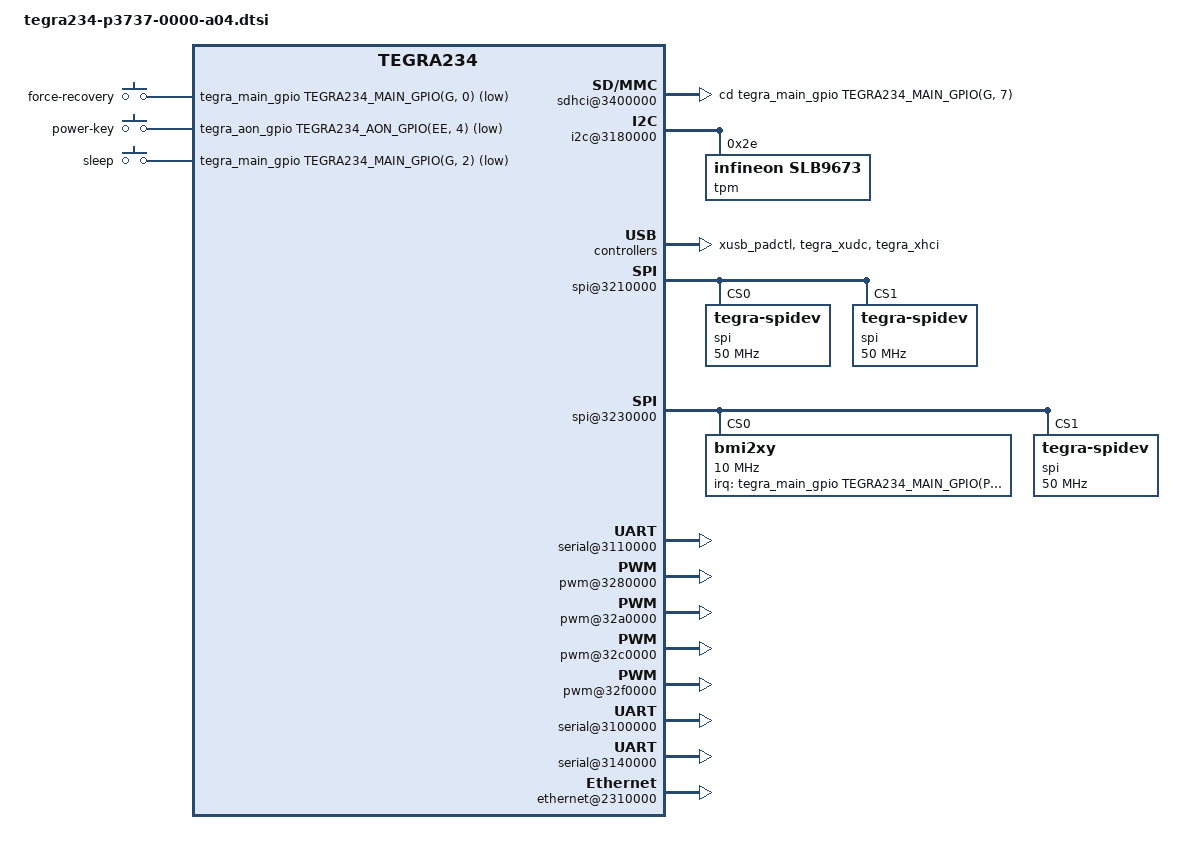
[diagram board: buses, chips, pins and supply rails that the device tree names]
/*
 * Copyright (c) 2021-2022, NVIDIA CORPORATION.  All rights reserved.
 *
 * This program is free software; you can redistribute it and/or modify
 * it under the terms of the GNU General Public License as published by
 * the Free Software Foundation; version 2 of the License.
 *
 * This program is distributed in the hope that it will be useful, but WITHOUT
 * ANY WARRANTY; without even the implied warranty of MERCHANTABILITY or
 * FITNESS FOR A PARTICULAR PURPOSE.  See the GNU General Public License for
 * more details.
 */
#include <dt-bindings/gpio/tegra234-gpio.h>
#include "dt-bindings/input/input.h"
#include "tegra234-pwm-fan.dtsi"
#include "tegra234-p3737-audio.dtsi"
#include "tegra234-p3737-fixed-regulator.dtsi"
//#include "tegra234-ethernet-3737-0000.dtsi"
#include "tegra234-p3737-pcie.dtsi"
#include "tegra234-p3737-super-module-e2614.dtsi"

/ {
	pinmux@2430000 {
                pinctrl-0 = <0x4e8>;
		pinctrl-names = "default";
                
                exp-header-pinmux {
			phandle = <0x4e8>;

			hdr40-pin26 {
				nvidia,enable-input = <0x1>;
				nvidia,tristate = <0x0>;
				nvidia,function = "spi1";
				nvidia,pins = "spi1_cs1_pz7";
			};

			hdr40-pin24 {
				nvidia,enable-input = <0x1>;
				nvidia,tristate = <0x0>;
				nvidia,function = "spi1";
				nvidia,pins = "spi1_cs0_pz6";
			};

			hdr40-pin23 {
				nvidia,enable-input = <0x1>;
				nvidia,tristate = <0x0>;
				nvidia,function = "spi1";
				nvidia,pins = "spi1_sck_pz3";
			};

			hdr40-pin21 {
				nvidia,enable-input = <0x1>;
				nvidia,tristate = <0x0>;
				nvidia,function = "spi1";
				nvidia,pins = "spi1_miso_pz4";
			};

			hdr40-pin19 {
				nvidia,enable-input = <0x1>;
				nvidia,tristate = <0x0>;
				nvidia,function = "spi1";
				nvidia,pins = "spi1_mosi_pz5";
			};
		
                };
                spi1_sck_pz3 {
                        nvidia,enable-input = <0x1>;
				nvidia,tristate = <0x0>;
				nvidia,function = "spi1";
				nvidia,pins = "spi1_sck_pz3";
                };
                spi1_miso_pz4 {
                        nvidia,enable-input = <0x1>;
				nvidia,tristate = <0x0>;
				nvidia,function = "spi1";
				nvidia,pins = "spi1_miso_pz4";
                };

                spi1_mosi_pz5 {
                        nvidia,enable-input = <0x1>;
				nvidia,tristate = <0x0>;
				nvidia,function = "spi1";
				nvidia,pins = "spi1_mosi_pz5";
                };

                spi1_cs0_pz6 {
                		nvidia,enable-input = <0x1>;
				nvidia,tristate = <0x0>;
				nvidia,function = "spi1";
				nvidia,pins = "spi1_cs0_pz6";
                };

                	spi1_cs1_pz7 {
                               nvidia,enable-input = <0x1>;
				nvidia,tristate = <0x0>;
				nvidia,function = "spi1";
				nvidia,pins = "spi1_cs1_pz7";

                      };
                      
                      	spi2_sck_pcc0 {
				nvidia,pins = "spi2_sck_pcc0";
				nvidia,function = "spi2";
				nvidia,pull = <TEGRA_PIN_PULL_NONE>;
				nvidia,tristate = <TEGRA_PIN_DISABLE>;
				nvidia,enable-input = <TEGRA_PIN_DISABLE>;
				nvidia,io-high-voltage = <TEGRA_PIN_DISABLE>;
				nvidia,lpdr = <TEGRA_PIN_DISABLE>;
			};

			spi2_miso_pcc1 {
				nvidia,pins = "spi2_miso_pcc1";
				nvidia,function = "spi2";
				nvidia,pull = <TEGRA_PIN_PULL_UP>;
				nvidia,tristate = <TEGRA_PIN_DISABLE>;
				nvidia,enable-input = <TEGRA_PIN_ENABLE>;
				nvidia,io-high-voltage = <TEGRA_PIN_DISABLE>;
				nvidia,lpdr = <TEGRA_PIN_DISABLE>;
			};

			spi2_mosi_pcc2 {
				nvidia,pins = "spi2_mosi_pcc2";
				nvidia,function = "spi2";
				nvidia,pull = <TEGRA_PIN_PULL_NONE>;
				nvidia,tristate = <TEGRA_PIN_DISABLE>;
				nvidia,enable-input = <TEGRA_PIN_ENABLE>;
				nvidia,io-high-voltage = <TEGRA_PIN_DISABLE>;
				nvidia,lpdr = <TEGRA_PIN_DISABLE>;
			};

			spi2_cs0_pcc3 {
				nvidia,pins = "spi2_cs0_pcc3";
				nvidia,function = "spi2";
				nvidia,pull = <TEGRA_PIN_PULL_UP>;
				nvidia,tristate = <TEGRA_PIN_DISABLE>;
				nvidia,enable-input = <TEGRA_PIN_ENABLE>;
				nvidia,io-high-voltage = <TEGRA_PIN_DISABLE>;
				nvidia,lpdr = <TEGRA_PIN_DISABLE>;
			};
                      
                      spi3_sck_py0 {
				nvidia,pins = "spi3_sck_py0";
				nvidia,function = "spi3";
				nvidia,pull = <TEGRA_PIN_PULL_NONE>;
				nvidia,tristate = <TEGRA_PIN_DISABLE>;
				nvidia,enable-input = <TEGRA_PIN_DISABLE>;
				nvidia,io-high-voltage = <TEGRA_PIN_DISABLE>;
				nvidia,lpdr = <TEGRA_PIN_DISABLE>;
			};

			spi3_miso_py1 {
				nvidia,pins = "spi3_miso_py1";
				nvidia,function = "spi3";
				nvidia,pull = <TEGRA_PIN_PULL_UP>;
				nvidia,tristate = <TEGRA_PIN_DISABLE>;
				nvidia,enable-input = <TEGRA_PIN_ENABLE>;
				nvidia,io-high-voltage = <TEGRA_PIN_DISABLE>;
				nvidia,lpdr = <TEGRA_PIN_DISABLE>;
			};

			spi3_mosi_py2 {
				nvidia,pins = "spi3_mosi_py2";
				nvidia,function = "spi3";
				nvidia,pull = <TEGRA_PIN_PULL_NONE>;
				nvidia,tristate = <TEGRA_PIN_DISABLE>;
				nvidia,enable-input = <TEGRA_PIN_ENABLE>;
				nvidia,io-high-voltage = <TEGRA_PIN_DISABLE>;
				nvidia,lpdr = <TEGRA_PIN_DISABLE>;
			};

			spi3_cs0_py3 {
				nvidia,pins = "spi3_cs0_py3";
				nvidia,function = "spi3";
				nvidia,pull = <TEGRA_PIN_PULL_NONE>;
				nvidia,tristate = <TEGRA_PIN_DISABLE>;
				nvidia,enable-input = <TEGRA_PIN_ENABLE>;
				nvidia,io-high-voltage = <TEGRA_PIN_DISABLE>;
				nvidia,lpdr = <TEGRA_PIN_DISABLE>;
			};
			
			spi3_cs1_py4 {
				nvidia,pins = "spi3_cs1_py4";
				nvidia,function = "spi3";
				nvidia,pull = <TEGRA_PIN_PULL_NONE>;
				nvidia,tristate = <TEGRA_PIN_DISABLE>;
				nvidia,enable-input = <TEGRA_PIN_ENABLE>;
				nvidia,io-high-voltage = <TEGRA_PIN_DISABLE>;
				nvidia,lpdr = <TEGRA_PIN_DISABLE>;
			};
			
			uart1_tx_pr2 {
				nvidia,pins = "uart1_tx_pr2";
				nvidia,function = "uarta";
				nvidia,pull = <TEGRA_PIN_PULL_NONE>;
				nvidia,tristate = <TEGRA_PIN_DISABLE>;
				nvidia,enable-input = <TEGRA_PIN_DISABLE>;
				nvidia,lpdr = <TEGRA_PIN_DISABLE>;
			};

			uart1_rx_pr3 {
				nvidia,pins = "uart1_rx_pr3";
				nvidia,function = "uarta";
				nvidia,pull = <TEGRA_PIN_PULL_UP>;
				nvidia,tristate = <TEGRA_PIN_ENABLE>;
				nvidia,enable-input = <TEGRA_PIN_ENABLE>;
				nvidia,lpdr = <TEGRA_PIN_DISABLE>;
			};

			uart1_rts_pr4 {
				nvidia,pins = "uart1_rts_pr4";
				nvidia,function = "uarta";
				nvidia,pull = <TEGRA_PIN_PULL_NONE>;
				nvidia,tristate = <TEGRA_PIN_DISABLE>;
				nvidia,enable-input = <TEGRA_PIN_DISABLE>;
				nvidia,lpdr = <TEGRA_PIN_DISABLE>;
			};

			uart1_cts_pr5 {
				nvidia,pins = "uart1_cts_pr5";
				nvidia,function = "uarta";
				nvidia,pull = <TEGRA_PIN_PULL_UP>;
				nvidia,tristate = <TEGRA_PIN_ENABLE>;
				nvidia,enable-input = <TEGRA_PIN_ENABLE>;
				nvidia,lpdr = <TEGRA_PIN_DISABLE>;
			};
			
                      	uart5_tx_py5 {
				nvidia,pins = "uart5_tx_py5";
				nvidia,function = "uarte";
				nvidia,pull = <TEGRA_PIN_PULL_NONE>;
				nvidia,tristate = <TEGRA_PIN_DISABLE>;
				nvidia,enable-input = <TEGRA_PIN_DISABLE>;
				nvidia,lpdr = <TEGRA_PIN_DISABLE>;
			};

			uart5_rx_py6 {
				nvidia,pins = "uart5_rx_py6";
				nvidia,function = "uarte";
				nvidia,pull = <TEGRA_PIN_PULL_NONE>;
				nvidia,tristate = <TEGRA_PIN_ENABLE>;
				nvidia,enable-input = <TEGRA_PIN_ENABLE>;
				nvidia,lpdr = <TEGRA_PIN_DISABLE>;
			};

			uart5_rts_py7 {
				nvidia,pins = "uart5_rts_py7";
				nvidia,function = "uarte";
				nvidia,pull = <TEGRA_PIN_PULL_UP>;
				nvidia,tristate = <TEGRA_PIN_DISABLE>;
				nvidia,enable-input = <TEGRA_PIN_DISABLE>;
				nvidia,lpdr = <TEGRA_PIN_DISABLE>;
			};

			uart5_cts_pz0 {
				nvidia,pins = "uart5_cts_pz0";
				nvidia,function = "uarte";
				nvidia,pull = <TEGRA_PIN_PULL_NONE>;
				nvidia,tristate = <TEGRA_PIN_ENABLE>;
				nvidia,enable-input = <TEGRA_PIN_ENABLE>;
				nvidia,lpdr = <TEGRA_PIN_DISABLE>;
			};
			
			spi5_mosi_pac2 {
				nvidia,pins = "spi5_mosi_pac2";
				nvidia,function = "rsvd3";
				nvidia,pull = <TEGRA_PIN_PULL_NONE>;
				nvidia,tristate = <TEGRA_PIN_DISABLE>;
				nvidia,enable-input = <TEGRA_PIN_DISABLE>;
				nvidia,lpdr = <TEGRA_PIN_DISABLE>;
			};
			
			soc_gpio23_pp4 {
				nvidia,pins = "soc_gpio23_pp4";
				nvidia,function = "vi0";
				nvidia,pull = <TEGRA_PIN_PULL_NONE>;
				nvidia,tristate = <TEGRA_PIN_ENABLE>;
				nvidia,enable-input = <TEGRA_PIN_DISABLE>;
				nvidia,io-high-voltage = <TEGRA_PIN_DISABLE>;
				nvidia,lpdr = <TEGRA_PIN_DISABLE>;
			};
			
			soc_gpio39_pn1 {
				nvidia,pins = "soc_gpio39_pn1";
				nvidia,function = "rsvd1";
				nvidia,pull = <TEGRA_PIN_PULL_NONE>;
				nvidia,tristate = <TEGRA_PIN_ENABLE>;
				nvidia,enable-input = <TEGRA_PIN_DISABLE>;
				nvidia,lpdr = <TEGRA_PIN_DISABLE>;
			};
			
			soc_gpio25_pp6 {
				nvidia,pins = "soc_gpio25_pp6";
				nvidia,function = "vi0";
				nvidia,pull = <TEGRA_PIN_PULL_NONE>;
				nvidia,tristate = <TEGRA_PIN_ENABLE>;
				nvidia,enable-input = <TEGRA_PIN_DISABLE>;
				nvidia,io-high-voltage = <TEGRA_PIN_DISABLE>;
				nvidia,lpdr = <TEGRA_PIN_DISABLE>;
			};
			
			can0_dout_paa0 {
				nvidia,pins = "can0_dout_paa0";
				nvidia,function = "can0";
				nvidia,pull = <TEGRA_PIN_PULL_NONE>;
				nvidia,tristate = <TEGRA_PIN_DISABLE>;
				nvidia,enable-input = <TEGRA_PIN_DISABLE>;
			};

			can0_din_paa1 {
				nvidia,pins = "can0_din_paa1";
				nvidia,function = "can0";
				nvidia,pull = <TEGRA_PIN_PULL_DOWN>;
				nvidia,tristate = <TEGRA_PIN_ENABLE>;
				nvidia,enable-input = <TEGRA_PIN_ENABLE>;
			};

			can1_dout_paa2 {
				nvidia,pins = "can1_dout_paa2";
				nvidia,function = "can1";
				nvidia,pull = <TEGRA_PIN_PULL_NONE>;
				nvidia,tristate = <TEGRA_PIN_DISABLE>;
				nvidia,enable-input = <TEGRA_PIN_DISABLE>;
			};

			can1_din_paa3 {
				nvidia,pins = "can1_din_paa3";
				nvidia,function = "can1";
				nvidia,pull = <TEGRA_PIN_PULL_DOWN>;
				nvidia,tristate = <TEGRA_PIN_ENABLE>;
				nvidia,enable-input = <TEGRA_PIN_ENABLE>;
			};
			gen2_i2c_scl_pcc7 {
				nvidia,pins = "gen2_i2c_scl_pcc7";
				nvidia,function = "i2c2";
				nvidia,pull = <TEGRA_PIN_PULL_NONE>;
				nvidia,tristate = <TEGRA_PIN_DISABLE>;
				nvidia,enable-input = <TEGRA_PIN_ENABLE>;
				nvidia,io-high-voltage = <TEGRA_PIN_ENABLE>;
				nvidia,lpdr = <TEGRA_PIN_DISABLE>;
			};

			gen2_i2c_sda_pdd0 {
				nvidia,pins = "gen2_i2c_sda_pdd0";
				nvidia,function = "i2c2";
				nvidia,pull = <TEGRA_PIN_PULL_NONE>;
				nvidia,tristate = <TEGRA_PIN_DISABLE>;
				nvidia,enable-input = <TEGRA_PIN_ENABLE>;
				nvidia,io-high-voltage = <TEGRA_PIN_ENABLE>;
				nvidia,lpdr = <TEGRA_PIN_DISABLE>;
			};

			gen8_i2c_scl_pdd1 {
				nvidia,pins = "gen8_i2c_scl_pdd1";
				nvidia,function = "i2c8";
				nvidia,pull = <TEGRA_PIN_PULL_NONE>;
				nvidia,tristate = <TEGRA_PIN_DISABLE>;
				nvidia,enable-input = <TEGRA_PIN_ENABLE>;
				nvidia,io-high-voltage = <TEGRA_PIN_ENABLE>;
				nvidia,lpdr = <TEGRA_PIN_DISABLE>;
			};

			gen8_i2c_sda_pdd2 {
				nvidia,pins = "gen8_i2c_sda_pdd2";
				nvidia,function = "i2c8";
				nvidia,pull = <TEGRA_PIN_PULL_NONE>;
				nvidia,tristate = <TEGRA_PIN_DISABLE>;
				nvidia,enable-input = <TEGRA_PIN_ENABLE>;
				nvidia,io-high-voltage = <TEGRA_PIN_ENABLE>;
				nvidia,lpdr = <TEGRA_PIN_DISABLE>;
			};
			
		        soc_gpio53_pm6 {
				nvidia,pins = "soc_gpio53_pm6";
				nvidia,function = "rsvd1";
				nvidia,pull = <TEGRA_PIN_PULL_NONE>;
				nvidia,tristate = <TEGRA_PIN_DISABLE>;
				nvidia,enable-input = <TEGRA_PIN_DISABLE>;
				nvidia,lpdr = <TEGRA_PIN_DISABLE>;
			};
			
			//DI
			dap6_din_pa2 {
				nvidia,pins = "dap6_din_pa2";
				nvidia,function = "rsvd1";
				nvidia,pull = <TEGRA_PIN_PULL_NONE>;
				nvidia,tristate = <TEGRA_PIN_ENABLE>;
				nvidia,enable-input = <TEGRA_PIN_ENABLE>;
				nvidia,lpdr = <TEGRA_PIN_DISABLE>;
			};
			
			soc_gpio58_pac5 {
				nvidia,pins = "soc_gpio58_pac5";
				nvidia,function = "rsvd0";
				nvidia,pull = <TEGRA_PIN_PULL_NONE>;
				nvidia,tristate = <TEGRA_PIN_ENABLE>;
				nvidia,enable-input = <TEGRA_PIN_ENABLE>;
				nvidia,lpdr = <TEGRA_PIN_DISABLE>;
			};
			
			soc_gpio60_pac7 {
				nvidia,pins = "soc_gpio60_pac7";
				nvidia,function = "rsvd0";
				nvidia,pull = <TEGRA_PIN_PULL_NONE>;
				nvidia,tristate = <TEGRA_PIN_ENABLE>;
				nvidia,enable-input = <TEGRA_PIN_ENABLE>;
				nvidia,lpdr = <TEGRA_PIN_DISABLE>;
			};
			
			spi5_cs0_pac3 {
				nvidia,pins = "spi5_cs0_pac3";
				nvidia,function = "rsvd3";
				nvidia,pull = <TEGRA_PIN_PULL_NONE>;
				nvidia,tristate = <TEGRA_PIN_ENABLE>;
				nvidia,enable-input = <TEGRA_PIN_ENABLE>;
				nvidia,lpdr = <TEGRA_PIN_DISABLE>;
			};
			
			soc_gpio34_pl3 {
				nvidia,pins = "soc_gpio34_pl3";
				nvidia,function = "rsvd1";
				nvidia,pull = <TEGRA_PIN_PULL_NONE>;
				nvidia,tristate = <TEGRA_PIN_DISABLE>;
				nvidia,enable-input = <TEGRA_PIN_DISABLE>;
				nvidia,io-high-voltage = <TEGRA_PIN_DISABLE>;
				nvidia,lpdr = <TEGRA_PIN_DISABLE>;
			};
			
			soc_gpio40_pn2 {
				nvidia,pins = "soc_gpio40_pn2";
				nvidia,function = "rsvd1";
				nvidia,pull = <TEGRA_PIN_PULL_NONE>;
				nvidia,tristate = <TEGRA_PIN_ENABLE>;
				nvidia,enable-input = <TEGRA_PIN_ENABLE>;
				nvidia,lpdr = <TEGRA_PIN_DISABLE>;
			};
			
			usb_vbus_en1_pz2 {
				nvidia,pins = "usb_vbus_en1_pz2";
				nvidia,function = "rsvd1";
				nvidia,pull = <TEGRA_PIN_PULL_NONE>;
				nvidia,tristate = <TEGRA_PIN_ENABLE>;
				nvidia,enable-input = <TEGRA_PIN_ENABLE>;
				nvidia,io-high-voltage = <TEGRA_PIN_DISABLE>;
				nvidia,lpdr = <TEGRA_PIN_DISABLE>;
			};
			
			dp_aux_ch3_hpd_pm3 {
				nvidia,pins = "dp_aux_ch3_hpd_pm3";
				nvidia,function = "rsvd1";
				nvidia,pull = <TEGRA_PIN_PULL_NONE>;
				nvidia,tristate = <TEGRA_PIN_ENABLE>;
				nvidia,enable-input = <TEGRA_PIN_ENABLE>;
				nvidia,io-high-voltage = <TEGRA_PIN_DISABLE>;
				nvidia,lpdr = <TEGRA_PIN_DISABLE>;
			};
			
		        //DO
			
			soc_gpio36_pm5 {
				nvidia,pins = "soc_gpio36_pm5";
				nvidia,function = "rsvd1";
				nvidia,pull = <TEGRA_PIN_PULL_NONE>;
				nvidia,tristate = <TEGRA_PIN_DISABLE>;
				nvidia,enable-input = <TEGRA_PIN_DISABLE>;
				nvidia,lpdr = <TEGRA_PIN_DISABLE>;
			};
			
			soc_gpio22_ph1 {
				nvidia,pins = "soc_gpio22_ph1";
				nvidia,function = "rsvd0";
				nvidia,pull = <TEGRA_PIN_PULL_NONE>;
				nvidia,tristate = <TEGRA_PIN_DISABLE>;
				nvidia,enable-input = <TEGRA_PIN_DISABLE>;
				nvidia,lpdr = <TEGRA_PIN_DISABLE>;
			};
			
			soc_gpio31_pq4 {
				nvidia,pins = "soc_gpio31_pq4";
				nvidia,function = "rsvd0";
				nvidia,pull = <TEGRA_PIN_PULL_NONE>;
				nvidia,tristate = <TEGRA_PIN_DISABLE>;
				nvidia,enable-input = <TEGRA_PIN_DISABLE>;
				nvidia,io-high-voltage = <TEGRA_PIN_DISABLE>;
				nvidia,lpdr = <TEGRA_PIN_DISABLE>;
			};
			
			soc_gpio28_pq1 {
				nvidia,pins = "soc_gpio28_pq1";
				nvidia,function = "rsvd1";
				nvidia,pull = <TEGRA_PIN_PULL_NONE>;
				nvidia,tristate = <TEGRA_PIN_DISABLE>;
				nvidia,enable-input = <TEGRA_PIN_DISABLE>;
				nvidia,io-high-voltage = <TEGRA_PIN_DISABLE>;
				nvidia,lpdr = <TEGRA_PIN_DISABLE>;
			};
			
			soc_gpio41_ph7 {
				nvidia,pins = "soc_gpio41_ph7";
				nvidia,function = "rsvd2";
				nvidia,pull = <TEGRA_PIN_PULL_NONE>;
				nvidia,tristate = <TEGRA_PIN_DISABLE>;
				nvidia,enable-input = <TEGRA_PIN_DISABLE>;
				nvidia,lpdr = <TEGRA_PIN_DISABLE>;
			};
			
			soc_gpio42_pi0 {
				nvidia,pins = "soc_gpio42_pi0";
				nvidia,function = "rsvd2";
				nvidia,pull = <TEGRA_PIN_PULL_NONE>;
				nvidia,tristate = <TEGRA_PIN_DISABLE>;
				nvidia,enable-input = <TEGRA_PIN_DISABLE>;
				nvidia,lpdr = <TEGRA_PIN_DISABLE>;
			};
			
			soc_gpio43_pi1 {
				nvidia,pins = "soc_gpio43_pi1";
				nvidia,function = "rsvd2";
				nvidia,pull = <TEGRA_PIN_PULL_NONE>;
				nvidia,tristate = <TEGRA_PIN_DISABLE>;
				nvidia,enable-input = <TEGRA_PIN_DISABLE>;
				nvidia,lpdr = <TEGRA_PIN_DISABLE>;
			};
			
			soc_gpio44_pi2 {
				nvidia,pins = "soc_gpio44_pi2";
				nvidia,function = "rsvd2";
				nvidia,pull = <TEGRA_PIN_PULL_NONE>;
				nvidia,tristate = <TEGRA_PIN_DISABLE>;
				nvidia,enable-input = <TEGRA_PIN_DISABLE>;
				nvidia,lpdr = <TEGRA_PIN_DISABLE>;
			};
			
			
			//DO_CTRL
			soc_gpio45_pad0 {
				nvidia,pins = "soc_gpio45_pad0";
				nvidia,function = "rsvd0";
				nvidia,pull = <TEGRA_PIN_PULL_NONE>;
				nvidia,tristate = <TEGRA_PIN_DISABLE>;
				nvidia,enable-input = <TEGRA_PIN_DISABLE>;
				nvidia,lpdr = <TEGRA_PIN_DISABLE>;
			};

			soc_gpio46_pad1 {
				nvidia,pins = "soc_gpio46_pad1";
				nvidia,function = "rsvd0";
				nvidia,pull = <TEGRA_PIN_PULL_NONE>;
				nvidia,tristate = <TEGRA_PIN_DISABLE>;
				nvidia,enable-input = <TEGRA_PIN_DISABLE>;
				nvidia,lpdr = <TEGRA_PIN_DISABLE>;
			};
			
			//led0 323
			can0_err_paa7 {
				nvidia,pins = "can0_err_paa7";
				nvidia,function = "rsvd0";
				nvidia,pull = <TEGRA_PIN_PULL_DOWN>;
				nvidia,tristate = <TEGRA_PIN_DISABLE>;
				nvidia,enable-input = <TEGRA_PIN_DISABLE>;
			};
			
			//led1 324
			can1_stb_pbb0 {
				nvidia,pins = "can1_stb_pbb0";
				nvidia,function = "rsvd0";
				nvidia,pull = <TEGRA_PIN_PULL_DOWN>;
				nvidia,tristate = <TEGRA_PIN_DISABLE>;
				nvidia,enable-input = <TEGRA_PIN_DISABLE>;
			};
			
			uart2_tx_px4 {
				nvidia,pins = "uart2_tx_px4";
				nvidia,function = "uartb";
				nvidia,pull = <TEGRA_PIN_PULL_NONE>;
				nvidia,tristate = <TEGRA_PIN_DISABLE>;
				nvidia,enable-input = <TEGRA_PIN_DISABLE>;
				nvidia,io-high-voltage = <TEGRA_PIN_DISABLE>;
				nvidia,lpdr = <TEGRA_PIN_DISABLE>;
			};

			uart2_rx_px5 {
				nvidia,pins = "uart2_rx_px5";
				nvidia,function = "uartb";
				nvidia,pull = <TEGRA_PIN_PULL_UP>;
				nvidia,tristate = <TEGRA_PIN_ENABLE>;
				nvidia,enable-input = <TEGRA_PIN_ENABLE>;
				nvidia,lpdr = <TEGRA_PIN_DISABLE>;
				nvidia,io-high-voltage = <TEGRA_PIN_DISABLE>;
				
			};
			/*
			pex_l7_rst_n_pag1 {                        //C7 
				nvidia,pins = "pex_l7_rst_n_pag1";
				nvidia,function = "pe7";
				nvidia,pull = <TEGRA_PIN_PULL_NONE>;
				nvidia,tristate = <TEGRA_PIN_DISABLE>;
				nvidia,enable-input = <TEGRA_PIN_DISABLE>;
				nvidia,io-high-voltage = <TEGRA_PIN_ENABLE>;
				nvidia,lpdr = <TEGRA_PIN_DISABLE>;
			};*/
			pex_l7_clkreq_n_pag0 {
				nvidia,pins = "pex_l7_clkreq_n_pag0";
				nvidia,function = "pe7";
				nvidia,pull = <TEGRA_PIN_PULL_NONE>;
				nvidia,tristate = <TEGRA_PIN_DISABLE>;
				nvidia,enable-input = <TEGRA_PIN_ENABLE>;
				nvidia,io-high-voltage = <TEGRA_PIN_ENABLE>;
				nvidia,lpdr = <TEGRA_PIN_DISABLE>;
			};
			
			pex_l0_clkreq_n_pk0 {
				nvidia,pins = "pex_l0_clkreq_n_pk0";  //C0
				nvidia,function = "pe0";
				nvidia,pull = <TEGRA_PIN_PULL_NONE>;
				nvidia,tristate = <TEGRA_PIN_DISABLE>;
				nvidia,enable-input = <TEGRA_PIN_ENABLE>;
				nvidia,io-high-voltage = <TEGRA_PIN_ENABLE>;
				nvidia,lpdr = <TEGRA_PIN_DISABLE>;
			};
			pex_l0_rst_n_pk1 {
				nvidia,pins = "pex_l0_rst_n_pk1";
				nvidia,function = "pe0";
				nvidia,pull = <TEGRA_PIN_PULL_NONE>;
				nvidia,tristate = <TEGRA_PIN_DISABLE>;
				nvidia,enable-input = <TEGRA_PIN_DISABLE>;
				nvidia,io-high-voltage = <TEGRA_PIN_ENABLE>;
				nvidia,lpdr = <TEGRA_PIN_DISABLE>;
			};
			
			cam_i2c_scl_pp2 {
				nvidia,pins = "cam_i2c_scl_pp2";
				nvidia,function = "i2c3";
				nvidia,pull = <TEGRA_PIN_PULL_NONE>;
				nvidia,tristate = <TEGRA_PIN_DISABLE>;
				nvidia,enable-input = <TEGRA_PIN_ENABLE>;
				nvidia,io-high-voltage = <TEGRA_PIN_ENABLE>;
				nvidia,lpdr = <TEGRA_PIN_DISABLE>;
			};

			cam_i2c_sda_pp3 {
				nvidia,pins = "cam_i2c_sda_pp3";
				nvidia,function = "i2c3";
				nvidia,pull = <TEGRA_PIN_PULL_NONE>;
				nvidia,tristate = <TEGRA_PIN_DISABLE>;
				nvidia,enable-input = <TEGRA_PIN_ENABLE>;
				nvidia,io-high-voltage = <TEGRA_PIN_ENABLE>;
				nvidia,lpdr = <TEGRA_PIN_DISABLE>;
			};

			dp_aux_ch0_hpd_pm0 {
				nvidia,pins = "dp_aux_ch0_hpd_pm0";
				nvidia,function = "rsvd1";
				nvidia,pull = <TEGRA_PIN_PULL_NONE>;
				nvidia,tristate = <TEGRA_PIN_ENABLE>;
				nvidia,enable-input = <TEGRA_PIN_ENABLE>;
				nvidia,io-high-voltage = <TEGRA_PIN_DISABLE>;
				nvidia,lpdr = <TEGRA_PIN_DISABLE>;
			};
			
			};
    /*
		       eqos_txc_pe0 {
				nvidia,pins = "eqos_txc_pe0";
				nvidia,function = "eqos";
				nvidia,pull = <TEGRA_PIN_PULL_NONE>;
				nvidia,tristate = <TEGRA_PIN_DISABLE>;
				nvidia,enable-input = <TEGRA_PIN_DISABLE>;
			};

			eqos_td0_pe1 {
				nvidia,pins = "eqos_td0_pe1";
				nvidia,function = "eqos";
				nvidia,pull = <TEGRA_PIN_PULL_NONE>;
				nvidia,tristate = <TEGRA_PIN_DISABLE>;
				nvidia,enable-input = <TEGRA_PIN_DISABLE>;			soc_gpio36_pm5 {
				nvidia,pins = "soc_gpio36_pm5";
				nvidia,function = "rsvd1";
				nvidia,pull = <TEGRA_PIN_PULL_NONE>;
				nvidia,tristate = <TEGRA_PIN_DISABLE>;
				nvidia,enable-input = <TEGRA_PIN_ENABLE>;
				nvidia,lpdr = <TEGRA_PIN_DISABLE>;
			};			soc_gpio36_pm5 {
				nvidia,pins = "soc_gpio36_pm5";
				nvidia,function = "rsvd1";
				nvidia,pull = <TEGRA_PIN_PULL_NONE>;
				nvidia,tristate = <TEGRA_PIN_DISABLE>;
				nvidia,enable-input = <TEGRA_PIN_ENABLE>;
				nvidia,lpdr = <TEGRA_PIN_DISABLE>;
			};			soc_gpio36_pm5 {
				nvidia,pins = "soc_gpio36_pm5";
				nvidia,function = "rsvd1";
				nvidia,pull = <TEGRA_PIN_PULL_NONE>;
				nvidia,tristate = <TEGRA_PIN_DISABLE>;
				nvidia,enable-input = <TEGRA_PIN_ENABLE>;
				nvidia,lpdr = <TEGRA_PIN_DISABLE>;
			};			soc_gpio36_pm5 {
				nvidia,pins = "soc_gpio36_pm5";
				nvidia,function = "rsvd1";
				nvidia,pull = <TEGRA_PIN_PULL_NONE>;
				nvidia,tristate = <TEGRA_PIN_DISABLE>;
				nvidia,enable-input = <TEGRA_PIN_ENABLE>;
				nvidia,lpdr = <TEGRA_PIN_DISABLE>;
			};			soc_gpio36_pm5 {
				nvidia,pins = "soc_gpio36_pm5";
				nvidia,function = "rsvd1";
				nvidia,pull = <TEGRA_PIN_PULL_NONE>;
				nvidia,tristate = <TEGRA_PIN_DISABLE>;
				nvidia,enable-input = <TEGRA_PIN_ENABLE>;
				nvidia,lpdr = <TEGRA_PIN_DISABLE>;
			};
			};

			eqos_td1_pe2 {
				nvidia,pins = "eqos_td1_pe2";
				nvidia,function = "eqos";
				nvidia,pull = <TEGRA_PIN_PULL_NONE>;
				nvidia,tristate = <TEGRA_PIN_DISABLE>;
				nvidia,enable-input = <TEGRA_PIN_DISABLE>;
			};

			eqos_td2_pe3 {
				nvidia,pins = "eqos_td2_pe3";
				nvidia,function = "eqos";
				nvidia,pull = <TEGRA_PIN_PULL_NONE>;
				nvidia,tristate = <TEGRA_PIN_DISABLE>;
				nvidia,enable-input = <TEGRA_PIN_DISABLE>;
			};

			eqos_td3_pe4 {
				nvidia,pins = "eqos_td3_pe4";
				nvidia,function = "eqos";
				nvidia,pull = <TEGRA_PIN_PULL_NONE>;
				nvidia,tristate = <TEGRA_PIN_DISABLE>;
				nvidia,enable-input = <TEGRA_PIN_DISABLE>;
			};

			eqos_tx_ctl_pe5 {
				nvidia,pins = "eqos_tx_ctl_pe5";
				nvidia,function = "eqos";
				nvidia,pull = <TEGRA_PIN_PULL_NONE>;
				nvidia,tristate = <TEGRA_PIN_DISABLE>;
				nvidia,enable-input = <TEGRA_PIN_DISABLE>;
			};

			eqos_rd0_pe6 {
				nvidia,pins = "eqos_rd0_pe6";
				nvidia,function = "eqos";
				nvidia,pull = <TEGRA_PIN_PULL_NONE>;
				nvidia,tristate = <TEGRA_PIN_ENABLE>;
				nvidia,enable-input = <TEGRA_PIN_ENABLE>;
			};

			eqos_rd1_pe7 {
				nvidia,pins = "eqos_rd1_pe7";
				nvidia,function = "eqos";
				nvidia,pull = <TEGRA_PIN_PULL_NONE>;
				nvidia,tristate = <TEGRA_PIN_ENABLE>;
				nvidia,enable-input = <TEGRA_PIN_ENABLE>;
			};
			eqos_rd2_pf0 {
				nvidia,pins = "eqos_rd2_pf0";
				nvidia,function = "eqos";
				nvidia,pull = <TEGRA_PIN_PULL_NONE>;
				nvidia,tristate = <TEGRA_PIN_ENABLE>;
				nvidia,enable-input = <TEGRA_PIN_ENABLE>;
			};

			eqos_rd3_pf1 {
				nvidia,pins = "eqos_rd3_pf1";
				nvidia,function = "eqos";
				nvidia,pull = <TEGRA_PIN_PULL_NONE>;
				nvidia,tristate = <TEGRA_PIN_ENABLE>;
				nvidia,enable-input = <TEGRA_PIN_ENABLE>;
			};

			eqos_rx_ctl_pf2 {
				nvidia,pins = "eqos_rx_ctl_pf2";
				nvidia,function = "eqos";
				nvidia,pull = <TEGRA_PIN_PULL_NONE>;
				nvidia,tristate = <TEGRA_PIN_ENABLE>;
				nvidia,enable-input = <TEGRA_PIN_ENABLE>;
			};

			eqos_rxc_pf3 {
				nvidia,pins = "eqos_rxc_pf3";
				nvidia,function = "eqos";
				nvidia,pull = <TEGRA_PIN_PULL_NONE>;
				nvidia,tristate = <TEGRA_PIN_ENABLE>;
				nvidia,enable-input = <TEGRA_PIN_ENABLE>;
			};

			eqos_sma_mdio_pf4 {
				nvidia,pins = "eqos_sma_mdio_pf4";
				nvidia,function = "eqos";
				nvidia,pull = <TEGRA_PIN_PULL_NONE>;
				nvidia,tristate = <TEGRA_PIN_DISABLE>;
				nvidia,enable-input = <TEGRA_PIN_ENABLE>;
			};

			eqos_sma_mdc_pf5 {
				nvidia,pins = "eqos_sma_mdc_pf5";
				nvidia,function = "eqos";
				nvidia,pull = <TEGRA_PIN_PULL_NONE>;
				nvidia,tristate = <TEGRA_PIN_DISABLE>;
				nvidia,enable-input = <TEGRA_PIN_DISABLE>;
			};
			soc_gpio17_pg4 {
				nvidia,pins = "soc_gpio17_pg4";
				nvidia,function = "rsvd0";
				nvidia,pull = <TEGRA_PIN_PULL_UP>;
				nvidia,tristate = <TEGRA_PIN_ENABLE>;
				nvidia,enable-input = <TEGRA_PIN_ENABLE>;
				nvidia,lpdr = <TEGRA_PIN_DISABLE>;
			};

			soc_gpio18_pg5 {
				nvidia,pins = "soc_gpio18_pg5";
				nvidia,function = "rsvd0";
				nvidia,pull = <TEGRA_PIN_PULL_NONE>;
				nvidia,tristate = <TEGRA_PIN_DISABLE>;
				nvidia,enable-input = <TEGRA_PIN_DISABLE>;
				nvidia,lpdr = <TEGRA_PIN_DISABLE>;
			};
		*/
		
	gpio-keys {
		compatible = "gpio-keys";
		gpio-keys,name = "gpio-keys";
		status = "okay";

		forcerecovery {
			label = "force-recovery";
			gpios = <&tegra_main_gpio TEGRA234_MAIN_GPIO(G, 0) GPIO_ACTIVE_LOW>;
			linux,code = <BTN_1>;
		};

		power_key {
			label = "power-key";
			gpios = <&tegra_aon_gpio TEGRA234_AON_GPIO(EE, 4) GPIO_ACTIVE_LOW>;
			linux,code = <KEY_POWER>;
			gpio-key,wakeup;
		};

		sleep {
			label = "sleep";
			gpios = <&tegra_main_gpio TEGRA234_MAIN_GPIO(G, 2) GPIO_ACTIVE_LOW>;
			linux,code = <KEY_SLEEP>;
		};
	};

	soft_wdt:soft_watchdog {
		compatible = "softdog-platform";
		status = "okay";
	};

	eeprom-manager {
		data-size = <0x100>;
		bus@0 {
			i2c-bus = <&gen1_i2c>;
			eeprom@1 {
				slave-address = <0x56>;
				label = "cvb";
			};
		};

		bus@1 {
			i2c-bus = <&gen2_i2c>;
			eeprom@1 {
				slave-address = <0x50>;
				label = "super-module";
			};
		};

		bus@2 {
			i2c-bus = <&cam_i2c>;
			eeprom@0 {
				slave-address = <0x54>;
				label = "sensor0";
			};
			eeprom@1 {
				slave-address = <0x57>;
				label = "sensor1";
			};
			eeprom@2 {
				slave-address = <0x52>;
				label = "sensor2";
			};
		};

	};

	ufshci@2500000 {
		nvidia,enable-ufs-provisioning;
		status = "disabled";
	};

	sdhci@3400000 {
		disable-wp;
		no-sdio;
		nvidia,cd-wakeup-capable;
		no-mmc;
		nvidia,boot-detect-delay = <1000>;
		cd-gpios = <&tegra_main_gpio TEGRA234_MAIN_GPIO(G, 7) 0>;
		assigned-clocks = <&bpmp TEGRA234_CLK_SDMMC1>,
				  <&bpmp TEGRA234_CLK_PLLC4_MUXED>;
		assigned-clock-parents = <&bpmp TEGRA234_CLK_PLLC4_MUXED>,
					 <&bpmp TEGRA234_CLK_PLLC4_VCO_DIV2>;
		status = "okay";
	};
		
	i2c@3180000 {
	                        tpm@2e{

                                      compatible = "infineon,slb9673", "tcg,tpm-tis-i2c";
				     status = "okay";
                                    reg = <0x2e>;

                                    #address-cells = <2>;

                                    #size-cells = <1>;

                                };     
	};
		
	i2c@c240000 {
	/*
		ucsi_ccg: ucsi_ccg@8 {
			status = "okay";
			compatible = "nvidia,ccgx-ucsi";
			ccgx,firmware-build = "gn";
			reg = <0x08>;
			interrupt-parent = <&tegra_main_gpio>;
			interrupts = <TEGRA234_MAIN_GPIO(Y, 4) IRQ_TYPE_LEVEL_LOW>;
			interrupt-names = "wakeup";
			wakeup-source;
			ccg_typec_con0: connector@0 {
				compatible = "usb-c-connector";
				label = "USB-C";
				data-role = "host";
			};
			ccg_typec_con1: connector@1 {
				compatible = "usb-c-connector";
				label = "USB-C";
				data-role = "dual";
				port {
					ucsi_ccg_p1: endpoint {
						remote-endpoint = <&usb_role_switch0>;
					};
				};
			};
		};
*/
		ncp_12v_pcie_supply: ncp81599@74 {
			compatible = "nvidia,ncp81599";
			reg = <0x74>;
			regulator-name = "ncp81599";
			ncp81599-supply = <&p3737_vdd_5v_sys>;
			status = "disabled";
		};
	};

	xusb_padctl: xusb_padctl@3520000 {
		status = "okay";
		pads {
			usb2 {
				lanes {
					usb2-0 {
						nvidia,function = "xusb";
						status = "okay";
					};
					usb2-1 {
						nvidia,function = "xusb";
						status = "okay";
					};
					usb2-2 {
						nvidia,function = "xusb";
						status = "okay";
					};
					usb2-3 {
						nvidia,function = "xusb";
						status = "okay";
					};
				};
			};
			usb3 {
				lanes {
					usb3-0 {
						nvidia,function = "xusb";
						status = "okay";
					};
					usb3-1 {
						nvidia,function = "xusb";
						status = "okay";
					};
					usb3-2 {
						nvidia,function = "xusb";
						status = "okay";
					};
				};
			};
		};

		ports {
			usb2-0 {
				mode = "peripheral";
				//mode = "otg";
				usb-role-switch;
				status = "okay";
				connector {
 					compatible = "usb-b-connector", "gpio-usb-b-connector";
 					label = "micro-USB";
 					type = "micro";
 					cable-connected-on-boot = <0>;
 				};
			};
			usb2-1 {
				mode = "host";
				status = "okay";
			};
			usb2-2 {
				mode = "host";
				status = "okay";
			};
			usb2-3 {
				mode = "host";
				status = "okay";
			};
			usb3-0 { //Back USB-C
				nvidia,usb2-companion = <0>;
				status = "disabled";
			};
			usb3-1 { //Front USB-C
				//nvidia,usb2-companion = <0>;
				nvidia,usb2-companion = <1>;
				status = "okay";
			};
			usb3-2 {
				nvidia,usb2-companion = <3>;
				status = "okay";
			};
		};
	};

	tegra_xudc: xudc@3550000 {
		status = "okay";
		phys = <&{/xusb_padctl@3520000/pads/usb2/lanes/usb2-0}>;
		phy-names = "usb2-0";
		nvidia,xusb-padctl = <&xusb_padctl>;
		nvidia,boost_cpu_freq = <1200>;
	};

	tegra_xhci: xhci@3610000 {
		status = "okay";
		phys = <&{/xusb_padctl@3520000/pads/usb2/lanes/usb2-0}>,
			<&{/xusb_padctl@3520000/pads/usb2/lanes/usb2-1}>,
			<&{/xusb_padctl@3520000/pads/usb2/lanes/usb2-2}>,
			<&{/xusb_padctl@3520000/pads/usb2/lanes/usb2-3}>,
			//<&{/xusb_padctl@3520000/pads/usb3/lanes/usb3-0}>,
			<&{/xusb_padctl@3520000/pads/usb3/lanes/usb3-1}>,
			<&{/xusb_padctl@3520000/pads/usb3/lanes/usb3-2}>;
		phy-names = "usb2-0", "usb2-1", "usb2-2", "usb2-3", "usb3-1", "usb3-2";
		nvidia,xusb-padctl = <&xusb_padctl>;
	};

	spi@3210000{ /* SPI1 in 40 pin conn */
		status = "okay";
		spi@0 { 
			compatible = "tegra-spidev";
			reg = <0x0>;
			spi-max-frequency = <50000000>;
			controller-data {
				nvidia,enable-hw-based-cs;
				nvidia,rx-clk-tap-delay = <0x10>;
				nvidia,tx-clk-tap-delay = <0x0>;
			};
		};
		spi@1 { /* chip select 1 */
			compatible = "tegra-spidev";
			reg = <0x1>;
			spi-max-frequency = <50000000>;
			controller-data {
				nvidia,enable-hw-based-cs;
				nvidia,rx-clk-tap-delay = <0x10>;
				nvidia,tx-clk-tap-delay = <0x0>;
			};
		};
	};
	display@13800000 {
		os_gpio_hotplug_a = <&tegra_main_gpio TEGRA234_MAIN_GPIO(M, 0) GPIO_ACTIVE_HIGH>;
		status = "okay";
	};
	spi@3230000{ /* SPI3 in 40 pin conn */
		status = "okay";
		bmi2xy: spi@0 { /* chip select 0 */
			//compatible = "tegra-spidev";
			compatible = "bmi2xy";
			spi-max-frequency = <10000000>;
			reg = <0x0>;
	                interrupt-parent = <&tegra_main_gpio>;
	                interrupts = <TEGRA234_MAIN_GPIO(P, 4) 0>;
	        };
		spi@1 { /* chips select 1 */
			compatible = "tegra-spidev";
			reg = <0x1>;
			spi-max-frequency = <50000000>;
			controller-data {
				nvidia,enable-hw-based-cs;
				nvidia,rx-clk-tap-delay = <0x10>;
				nvidia,tx-clk-tap-delay = <0x0>;
			};
		};
	};

	gte@c1e0000 {
		status = "okay";
	};

	gpio@c2f0000 {
		/delete-property/ use-timestamp;
	};

	mttcan@c310000 {
		status = "okay";
	};

	mttcan@c320000 {
		status = "okay";
	};

	serial@3110000 {
		status = "okay";
	};

	tachometer@39c0000 {
		status = "okay";
		upper-threshold = <0xfffff>;
		lower-threshold = <0x0>;
	};

	pwm@3280000 {
		status = "okay";
	};

	pwm@32a0000 {
		status = "okay";
	};

	pwm@32c0000 {
		status = "okay";
	};

	pwm@32d0000 {
		status = "disabled";
	};

	pwm@32f0000 {
		status = "okay";
	};
	

	spi@3300000 {
		status = "disabled";
	};

	gpio@2200000 {
		/* gpio-name for 40-pin header, gpio-name given as COL(10) x ROW(24),
		   Tegra-GPIO starts from 348 */
		gpio-line-names = "",   "",     "",     "",     "",     "",     "",     "",     "",     "",
		"",     "",     "",     "",     "",     "",     "",     "",     "",     "",
		"",     "",     "",     "",     "",     "",     "",     "",     "",     "",
		"",     "",     "",     "",     "",     "",     "",     "",     "",     "",
		"",     "",     "",     "",     "",     "",     "",     "",     "",     "",
		"",     "",     "",     "",     "",     "",     "GPIO35",     "",     "",     "",
		"",     "",     "",     "I2S2_SCLK",     "I2S2_DOUT",     "I2S2_DIN",     "I2S2_FS",     "",     "",     "",
		"",     "",     "",     "",     "",     "",     "",     "",     "",     "",
		"",     "",     "",     "",     "",     "",     "",     "",     "",     "",
		"",     "",     "",     "",     "",     "",     "",     "",     "",     "",
		"",     "",     "",     "",     "",     "GPIO27",     "",     "",     "",     "",
		"",     "",     "",     "",     "",     "",     "GPIO17",     "",     "",     "",
		"",     "",     "",     "",     "",     "",     "MCLK05",     "",     "PWM01",     "",
		"",     "",     "",     "",     "",     "",     "",     "",     "",     "",
		"",     "",     "",     "",     "",     "",     "",     "",     "",     "",
		"",     "",     "",     "",     "",     "SPI1_CLK",     "SPI1_MISO",     "SPI1_MOSI",     "SPI1_CS0_N",     "SPI1_CS1_N",
		"",     "",     "",     "";
	};

	gpio@c2f0000 {
		/* gpio-name for 40-pin header, gpio-name given as COL(10) x ROW(2),
		   Tegra-AON-GPIO starts from 316 */
		gpio-line-names = "CAN0_DOUT",   "CAN0_DIN",     "CAN1_DOUT",     "CAN1_DIN",     "",     "",     "",     "",     "GPIO09",     "GPIO08",
		"",     "",     "",     "",     "",     "",     "",     "",     "",     "";
	};
	
	serial@3100000 {
		status = "okay";
	};
	
	serial@3140000 {
		status = "okay";
	};
	/* EQOS */
	ethernet@2310000 {
		status = "okay";
	};
	/*
	ethernet@2310000 {
		status = "okay";
		nvidia,mac-addr-idx = <0>;
		nvidia,phy-reset-gpio = <&tegra_main_gpio TEGRA234_MAIN_GPIO(G, 5) 0>;
		nvidia.puse_frames = <0>;
		phy-mode = "rgmii-id";
		phy-handle = <&phy>;
		// /delete-node/ fixed-link;
		nvidia,max-platform-mtu = <16383>;
		mdio {
			compatible = "nvidia,eqos-mdio";
			#address-cells = <1>;
			#size-cells = <0>;
			phy: phy@0 {
				reg = <0>;
				nvidia,phy-rst-pdelay-msec = <224>; 
				nvidia,phy-rst-duration-usec = <10000>; 
				#if TEGRA_ETHERNETPHY_DT_VERSION >= DT_VERSION_2
                            	
                            	#else
				interrupt-parent = <&tegra_main_gpio>;
				interrupts = <TEGRA234_MAIN_GPIO(G, 4) IRQ_TYPE_LEVEL_LOW>;
				#endif
			};
		};
	};
	*/
	
	
};
